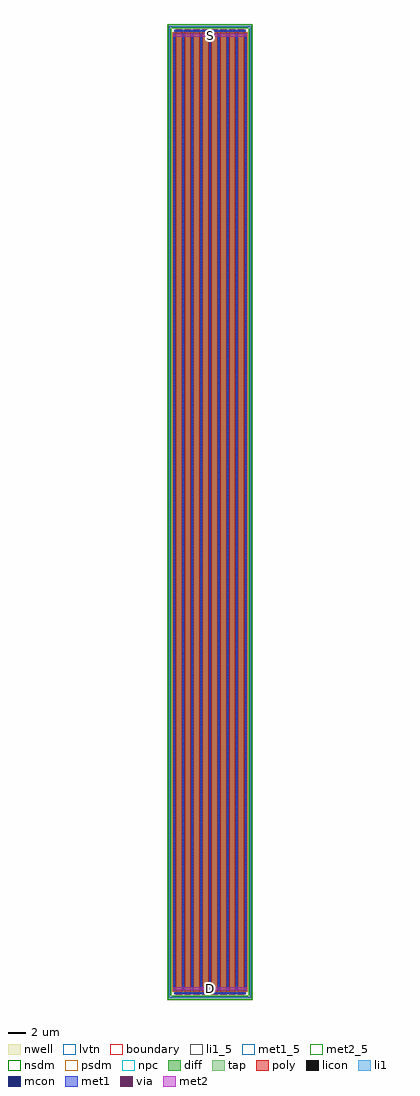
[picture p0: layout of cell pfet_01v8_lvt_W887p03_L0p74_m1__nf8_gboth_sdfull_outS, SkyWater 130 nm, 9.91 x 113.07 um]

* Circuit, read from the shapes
.subckt pfet_01v8_lvt_W887p03_L0p74_m1__nf8_gboth_sdfull_outS B D G S
XM1 D G S B sky130_fd_pr__pfet_01v8_lvt w=110.88 l=0.74 m=8
.ends

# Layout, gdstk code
import gdstk
lib = gdstk.Library(unit=1e-6, precision=1e-09)
def R(c, l, rs):  # rectangles x0, y0, x1, y1
    for r in rs: c.add(gdstk.rectangle(r[:2], r[2:], *l))
def A(c, l, x, y, w, h, nx, ny, dx, dy):  # array of equal rectangles
    R(c, l, [(x+i*dx, y+j*dy, x+i*dx+w, y+j*dy+h) for i in range(nx) for j in range(ny)])
nwell = (64, 20)
diff = (65, 20)
tap = (65, 44)
poly = (66, 20)
licon = (66, 44)
li1_5 = (67, 5)
li1 = (67, 20)
mcon = (67, 44)
met1_5 = (68, 5)
met1 = (68, 20)
via = (68, 44)
met2_5 = (69, 5)
met2 = (69, 20)
nsdm = (93, 44)
psdm = (94, 20)
npc = (95, 20)
lvtn = (125, 44)
boundary = (235, 4)

sky130_fd_pr__pfet_01v8_ = lib.new_cell('sky130_fd_pr__pfet_01v8_lvt_KUAASU')
R(sky130_fd_pr__pfet_01v8_, nwell, [(-4.955,-56.535,4.955,56.535)])
R(sky130_fd_pr__pfet_01v8_, diff, [(-4.265,-55.44,4.265,55.44)])
R(sky130_fd_pr__pfet_01v8_, tap, [(-4.775,-56.355,4.775,-56.185), (-4.775,-56.185,-4.605,56.185), (4.605,-56.185,4.775,56.185), (-4.775,56.185,4.775,56.355)])
A(sky130_fd_pr__pfet_01v8_, poly, -3.975, -55.925, 0.74, 111.85, 8, 1, 1.03, 0)
A(sky130_fd_pr__pfet_01v8_, licon, -4.165, -56.355, 0.17, 0.17, 25, 2, 0.34, 112.54)
A(sky130_fd_pr__pfet_01v8_, licon, -4.775, -55.845, 0.17, 0.17, 1, 329, 0, 0.34)
A(sky130_fd_pr__pfet_01v8_, licon, 4.605, -55.845, 0.17, 0.17, 1, 329, 0, 0.34)
A(sky130_fd_pr__pfet_01v8_, licon, -4.205, -55.335, 0.17, 0.17, 9, 326, 1.03, 0.34)
R(sky130_fd_pr__pfet_01v8_, licon, [(-3.86,-55.845,-3.69,-55.675), (-3.52,-55.845,-3.35,-55.675), (-2.83,-55.845,-2.66,-55.675), (-2.49,-55.845,-2.32,-55.675), (-1.8,-55.845,-1.63,-55.675), (-1.46,-55.845,-1.29,-55.675), (-0.77,-55.845,-0.6,-55.675), (-0.43,-55.845,-0.26,-55.675), (0.26,-55.845,0.43,-55.675), (0.6,-55.845,0.77,-55.675), (1.29,-55.845,1.46,-55.675), (1.63,-55.845,1.8,-55.675), (2.32,-55.845,2.49,-55.675), (2.66,-55.845,2.83,-55.675), (3.35,-55.845,3.52,-55.675), (3.69,-55.845,3.86,-55.675), (-3.86,55.675,-3.69,55.845), (-3.52,55.675,-3.35,55.845), (-2.83,55.675,-2.66,55.845), (-2.49,55.675,-2.32,55.845), (-1.8,55.675,-1.63,55.845), (-1.46,55.675,-1.29,55.845), (-0.77,55.675,-0.6,55.845), (-0.43,55.675,-0.26,55.845), (0.26,55.675,0.43,55.845), (0.6,55.675,0.77,55.845), (1.29,55.675,1.46,55.845), (1.63,55.675,1.8,55.845), (2.32,55.675,2.49,55.845), (2.66,55.675,2.83,55.845), (3.35,55.675,3.52,55.845), (3.69,55.675,3.86,55.845)])
A(sky130_fd_pr__pfet_01v8_, li1, -4.205, -55.46, 0.17, 110.92, 9, 1, 1.03, 0)
R(sky130_fd_pr__pfet_01v8_, li1, [(-4.775,-56.355,4.775,-56.185), (-4.775,-56.185,-4.605,56.185), (4.605,-56.185,4.775,56.185), (-4.12,-55.845,4.12,-55.675), (-4.12,55.675,4.12,55.845), (-4.775,56.185,4.775,56.355)])
A(sky130_fd_pr__pfet_01v8_, mcon, -4.205, -55.345, 0.17, 0.17, 9, 308, 1.03, 0.36)
R(sky130_fd_pr__pfet_01v8_, mcon, [(-3.87,-55.845,-3.7,-55.675), (-3.51,-55.845,-3.34,-55.675), (-2.84,-55.845,-2.67,-55.675), (-2.48,-55.845,-2.31,-55.675), (-1.81,-55.845,-1.64,-55.675), (-1.45,-55.845,-1.28,-55.675), (-0.78,-55.845,-0.61,-55.675), (-0.42,-55.845,-0.25,-55.675), (0.25,-55.845,0.42,-55.675), (0.61,-55.845,0.78,-55.675), (1.28,-55.845,1.45,-55.675), (1.64,-55.845,1.81,-55.675), (2.31,-55.845,2.48,-55.675), (2.67,-55.845,2.84,-55.675), (3.34,-55.845,3.51,-55.675), (3.7,-55.845,3.87,-55.675), (-3.87,55.675,-3.7,55.845), (-3.51,55.675,-3.34,55.845), (-2.84,55.675,-2.67,55.845), (-2.48,55.675,-2.31,55.845), (-1.81,55.675,-1.64,55.845), (-1.45,55.675,-1.28,55.845), (-0.78,55.675,-0.61,55.845), (-0.42,55.675,-0.25,55.845), (0.25,55.675,0.42,55.845), (0.61,55.675,0.78,55.845), (1.28,55.675,1.45,55.845), (1.64,55.675,1.81,55.845), (2.31,55.675,2.48,55.845), (2.67,55.675,2.84,55.845), (3.34,55.675,3.51,55.845), (3.7,55.675,3.87,55.845)])
A(sky130_fd_pr__pfet_01v8_, met1, -3.955, -55.875, 0.7, 0.03, 8, 2, 1.03, 0.2)
A(sky130_fd_pr__pfet_01v8_, met1, -4.235, -55.44, 0.23, 110.88, 9, 1, 1.03, 0)
A(sky130_fd_pr__pfet_01v8_, met1, -3.955, 55.645, 0.7, 0.03, 8, 2, 1.03, 0.2)
R(sky130_fd_pr__pfet_01v8_, met1, [(-4.12,-55.845,4.12,-55.675), (-4.12,55.675,4.12,55.845)])
R(sky130_fd_pr__pfet_01v8_, nsdm, [(-4.9,-56.48,4.9,-56.06), (-4.9,-56.06,-4.48,56.06), (4.48,-56.06,4.9,56.06), (-4.9,56.06,4.9,56.48)])
R(sky130_fd_pr__pfet_01v8_, psdm, [(-4.39,-55.565,4.39,55.565)])
A(sky130_fd_pr__pfet_01v8_, npc, -3.96, -55.945, 0.71, 0.37, 8, 2, 1.03, 111.52)
R(sky130_fd_pr__pfet_01v8_, lvtn, [(-4.155,-55.62,4.155,55.62)])
R(sky130_fd_pr__pfet_01v8_, boundary, [(-4.69,-56.27,4.69,56.27)])
sky130_fd_pr__pfet_01v8_.add(gdstk.Label('B', (0,-56.27), layer=67, texttype=5))
sky130_fd_pr__pfet_01v8_.add(gdstk.Label('D0', (-4.12,0), layer=67, texttype=5))
sky130_fd_pr__pfet_01v8_.add(gdstk.Label('G', (3.605,55.76), layer=67, texttype=5))
sky130_fd_pr__pfet_01v8_.add(gdstk.Label('G', (2.575,55.76), layer=67, texttype=5))
sky130_fd_pr__pfet_01v8_.add(gdstk.Label('G', (1.545,55.76), layer=67, texttype=5))
sky130_fd_pr__pfet_01v8_.add(gdstk.Label('G', (0.515,55.76), layer=67, texttype=5))
sky130_fd_pr__pfet_01v8_.add(gdstk.Label('G', (-0.515,55.76), layer=67, texttype=5))
sky130_fd_pr__pfet_01v8_.add(gdstk.Label('G', (-1.545,55.76), layer=67, texttype=5))
sky130_fd_pr__pfet_01v8_.add(gdstk.Label('G', (-2.575,55.76), layer=67, texttype=5))
sky130_fd_pr__pfet_01v8_.add(gdstk.Label('G', (-3.605,55.76), layer=67, texttype=5))
sky130_fd_pr__pfet_01v8_.add(gdstk.Label('S1', (-3.09,0), layer=67, texttype=5))
sky130_fd_pr__pfet_01v8_.add(gdstk.Label('D2', (-2.06,0), layer=67, texttype=5))
sky130_fd_pr__pfet_01v8_.add(gdstk.Label('S3', (-1.03,0), layer=67, texttype=5))
sky130_fd_pr__pfet_01v8_.add(gdstk.Label('D4', (0,0), layer=67, texttype=5))
sky130_fd_pr__pfet_01v8_.add(gdstk.Label('S5', (1.03,0), layer=67, texttype=5))
sky130_fd_pr__pfet_01v8_.add(gdstk.Label('D6', (2.06,0), layer=67, texttype=5))
sky130_fd_pr__pfet_01v8_.add(gdstk.Label('S7', (3.09,0), layer=67, texttype=5))

pfet_01v8_lvt_w887p03_l0 = lib.new_cell('pfet_01v8_lvt_W887p03_L0p74_m1__nf8_gboth_sdfull_outS')
R(pfet_01v8_lvt_w887p03_l0, li1_5, [(4.605,-0.085,4.775,0.085)])
R(pfet_01v8_lvt_w887p03_l0, li1, [(4.605,-0.085,4.775,0.085)])
R(pfet_01v8_lvt_w887p03_l0, met1_5, [(0.57,111.915,8.81,112.145)])
A(pfet_01v8_lvt_w887p03_l0, met1, 1.47, 0.88, 0.26, 0.32, 4, 1, 2.06, 0)
A(pfet_01v8_lvt_w887p03_l0, met1, 0.44, 111.34, 0.26, 0.32, 5, 1, 2.06, 0)
R(pfet_01v8_lvt_w887p03_l0, met1, [(0.57,111.915,8.81,112.145)])
A(pfet_01v8_lvt_w887p03_l0, via, 1.525, 0.965, 0.15, 0.15, 4, 1, 2.06, 0)
A(pfet_01v8_lvt_w887p03_l0, via, 0.495, 111.425, 0.15, 0.15, 5, 1, 2.06, 0)
R(pfet_01v8_lvt_w887p03_l0, met2_5, [(0.435,0.88,8.945,1.2), (0.435,111.34,8.945,111.66)])
R(pfet_01v8_lvt_w887p03_l0, met2, [(0.435,0.88,8.945,1.2), (0.435,111.34,8.945,111.66)])
pfet_01v8_lvt_w887p03_l0.add(gdstk.Reference(sky130_fd_pr__pfet_01v8_, (4.69,56.27)))
pfet_01v8_lvt_w887p03_l0.add(gdstk.Label('S', (4.69,111.5), layer=69, texttype=5))
pfet_01v8_lvt_w887p03_l0.add(gdstk.Label('D', (4.69,1.04), layer=69, texttype=5))
pfet_01v8_lvt_w887p03_l0.add(gdstk.Label('G', (4.69,112.03), layer=68, texttype=5))
pfet_01v8_lvt_w887p03_l0.add(gdstk.Label('B', (4.69,0), layer=67, texttype=5))

lib.write_gds('pfet_01v8_lvt_W887p03_L0p74_m1__nf8_gboth_sdfull_outS.gds')
